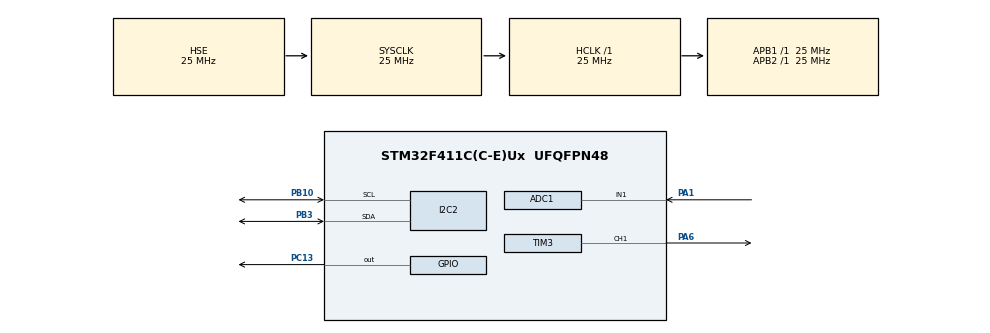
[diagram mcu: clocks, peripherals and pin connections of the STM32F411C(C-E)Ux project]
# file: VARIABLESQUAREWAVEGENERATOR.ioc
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ADC1.Channel-1\#ChannelRegularConversion=ADC_CHANNEL_1
ADC1.NbrOfConversion=1
ADC1.NbrOfConversionFlag=1
ADC1.master=1
Mcu.Family=STM32F4
Mcu.Name=STM32F411C(C-E)Ux
Mcu.Package=UFQFPN48
NVIC.ADC_IRQn=true\:0\:0\:false\:false\:true\:true\:true\:true
NVIC.I2C2_EV_IRQn=true\:0\:0\:false\:false\:true\:true\:true\:true
NVIC.PriorityGroup=NVIC_PRIORITYGROUP_4
PA1.GPIO_PuPd=GPIO_NOPULL
PA1.Signal=ADCx_IN1
PA13.Mode=Serial_Wire
PA13.Signal=SYS_JTMS-SWDIO
PA14.Mode=Serial_Wire
PA14.Signal=SYS_JTCK-SWCLK
PA6.GPIO_PuPd=GPIO_NOPULL
PA6.GPIO_Speed=GPIO_SPEED_FREQ_LOW
PA6.Signal=S_TIM3_CH1
PB10.Mode=I2C
PB10.Signal=I2C2_SCL
PB3.Mode=I2C
PB3.Signal=I2C2_SDA
PC13-ANTI_TAMP.GPIO_PuPd=GPIO_PULLUP
PC13-ANTI_TAMP.Signal=GPIO_Output
PH0\ -\ OSC_IN.Mode=HSE-External-Oscillator
PH0\ -\ OSC_IN.Signal=RCC_OSC_IN
PH1\ -\ OSC_OUT.Mode=HSE-External-Oscillator
PH1\ -\ OSC_OUT.Signal=RCC_OSC_OUT
ProjectManager.HeapSize=0x200
ProjectManager.StackSize=0x400
ProjectManager.TargetToolchain=STM32CubeIDE
RCC.48MHZClocksFreq_Value=40000000
RCC.AHBFreq_Value=25000000
RCC.APB1Freq_Value=25000000
RCC.APB1TimFreq_Value=25000000
RCC.APB2Freq_Value=25000000
RCC.APB2TimFreq_Value=25000000
RCC.CortexFreq_Value=25000000
RCC.HCLKFreq_Value=25000000
RCC.HSE_VALUE=25000000
RCC.HSI_VALUE=16000000
RCC.LSE_VALUE=32768
RCC.PLLM=8
RCC.PLLN=100
RCC.PLLQ=5
RCC.RCC_TIM_PRescaler_Selection=RCC_TIMPRES_DESACTIVATED
RCC.SYSCLKFreq_VALUE=25000000
RCC.SYSCLKSource=RCC_SYSCLKSOURCE_HSE
RCC.VCOOutputFreq_Value=200000000
SH.ADCx_IN1.0=ADC1_IN1,IN1
SH.S_TIM3_CH1.0=TIM3_CH1,Output Compare1 CH1
TIM3.Channel-Output\ Compare1\ CH1=TIM_CHANNEL_1
TIM3.ClockDivision=TIM_CLOCKDIVISION_DIV1
TIM3.OCMode_1=TIM_OCMODE_TOGGLE
TIM3.OCPolarity_1=TIM_OCPOLARITY_LOW
TIM3.Period=1-1
TIM3.Prescaler=1-1
VP_TIM3_VS_ClockSourceINT.Mode=Internal
board=custom

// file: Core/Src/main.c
/* USER CODE BEGIN Header */
/**
 ******************************************************************************
 * @file           : main.c
 * @brief          : Main program body
 ******************************************************************************
 * @attention
 *
 * Copyright (c) 2024 STMicroelectronics.
 * All rights reserved.
 *
 * This software is licensed under terms that can be found in the LICENSE file
 * in the root directory of this software component.
 * If no LICENSE file comes with this software, it is provided AS-IS.
 *
 ******************************************************************************
 */
/* USER CODE END Header */
#include "main.h"

/* USER CODE BEGIN PD */
#define maxFreq 20000
// Define here the maximum frequency
// For values greater than 50000 the sysclock must be 100 MHz
/* USER CODE END PD */

ADC_HandleTypeDef hadc1;

I2C_HandleTypeDef hi2c2;

TIM_HandleTypeDef htim3;

/* USER CODE BEGIN PV */
HAL_StatusTypeDef RetTimer, RetADC;
uint8_t buf[2];
uint32_t adcValue, timerClock, frequency;

/* USER CODE END PV */

void SystemClock_Config(void);
static void MX_GPIO_Init(void);
static void MX_TIM3_Init(void);
static void MX_ADC1_Init(void);
static void MX_I2C2_Init(void);
/* USER CODE BEGIN PFP */
void sendToI2C(uint32_t counts);
void genFreq(uint32_t counts);
/* USER CODE END PFP */

int main(void)
{

  /* MCU Configuration--------------------------------------------------------*/

  /* Reset of all peripherals, Initializes the Flash interface and the Systick. */
  HAL_Init();

  /* Configure the system clock */
  SystemClock_Config();

  /* Initialize all configured peripherals */
  MX_GPIO_Init();
  MX_TIM3_Init();
  MX_ADC1_Init();
  MX_I2C2_Init();
  /* USER CODE BEGIN 2 */
	for (uint8_t i = 0; i < 6; i++) {
		HAL_GPIO_TogglePin(GPIOC, GPIO_PIN_13);
		HAL_Delay(200);
	}

	timerClock = HAL_RCC_GetPCLK2Freq();

	//sendToI2C(4095);
	//genFreq(1100);
  /* USER CODE END 2 */

  /* Infinite loop */
  /* USER CODE BEGIN WHILE */
	while (1) {

		sendToI2C(4095);

		HAL_Delay(1000);

    /* USER CODE END WHILE */

	}
}

void SystemClock_Config(void)
{
  RCC_OscInitTypeDef RCC_OscInitStruct = {0};
  RCC_ClkInitTypeDef RCC_ClkInitStruct = {0};

  /** Configure the main internal regulator output voltage
  */
  __HAL_RCC_PWR_CLK_ENABLE();
  __HAL_PWR_VOLTAGESCALING_CONFIG(PWR_REGULATOR_VOLTAGE_SCALE1);

  /** Initializes the RCC Oscillators according to the specified parameters
  * in the RCC_OscInitTypeDef structure.
  */
  RCC_OscInitStruct.OscillatorType = RCC_OSCILLATORTYPE_HSE;
  RCC_OscInitStruct.HSEState = RCC_HSE_ON;
  RCC_OscInitStruct.PLL.PLLState = RCC_PLL_NONE;
  if (HAL_RCC_OscConfig(&RCC_OscInitStruct) != HAL_OK)
  {
    Error_Handler();
  }

  /** Initializes the CPU, AHB and APB buses clocks
  */
  RCC_ClkInitStruct.ClockType = RCC_CLOCKTYPE_HCLK|RCC_CLOCKTYPE_SYSCLK
                              |RCC_CLOCKTYPE_PCLK1|RCC_CLOCKTYPE_PCLK2;
  RCC_ClkInitStruct.SYSCLKSource = RCC_SYSCLKSOURCE_HSE;
  RCC_ClkInitStruct.AHBCLKDivider = RCC_SYSCLK_DIV1;
  RCC_ClkInitStruct.APB1CLKDivider = RCC_HCLK_DIV1;
  RCC_ClkInitStruct.APB2CLKDivider = RCC_HCLK_DIV1;

  if (HAL_RCC_ClockConfig(&RCC_ClkInitStruct, FLASH_LATENCY_0) != HAL_OK)
  {
    Error_Handler();
  }
}

static void MX_ADC1_Init(void)
{

  ADC_ChannelConfTypeDef sConfig = {0};

  /** Configure the global features of the ADC (Clock, Resolution, Data Alignment and number of conversion)
  */
  hadc1.Instance = ADC1;
  hadc1.Init.ClockPrescaler = ADC_CLOCK_SYNC_PCLK_DIV2;
  hadc1.Init.Resolution = ADC_RESOLUTION_12B;
  hadc1.Init.ScanConvMode = DISABLE;
  hadc1.Init.ContinuousConvMode = DISABLE;
  hadc1.Init.DiscontinuousConvMode = DISABLE;
  hadc1.Init.ExternalTrigConvEdge = ADC_EXTERNALTRIGCONVEDGE_NONE;
  hadc1.Init.ExternalTrigConv = ADC_SOFTWARE_START;
  hadc1.Init.DataAlign = ADC_DATAALIGN_RIGHT;
  hadc1.Init.NbrOfConversion = 1;
  hadc1.Init.DMAContinuousRequests = DISABLE;
  hadc1.Init.EOCSelection = ADC_EOC_SINGLE_CONV;
  if (HAL_ADC_Init(&hadc1) != HAL_OK)
  {
    Error_Handler();
  }

  /** Configure for the selected ADC regular channel its corresponding rank in the sequencer and its sample time.
  */
  sConfig.Channel = ADC_CHANNEL_1;
  sConfig.Rank = 1;
  sConfig.SamplingTime = ADC_SAMPLETIME_3CYCLES;
  if (HAL_ADC_ConfigChannel(&hadc1, &sConfig) != HAL_OK)
  {
    Error_Handler();
  }

}

static void MX_I2C2_Init(void)
{

  hi2c2.Instance = I2C2;
  hi2c2.Init.ClockSpeed = 100000;
  hi2c2.Init.DutyCycle = I2C_DUTYCYCLE_2;
  hi2c2.Init.OwnAddress1 = 0;
  hi2c2.Init.AddressingMode = I2C_ADDRESSINGMODE_7BIT;
  hi2c2.Init.DualAddressMode = I2C_DUALADDRESS_DISABLE;
  hi2c2.Init.OwnAddress2 = 0;
  hi2c2.Init.GeneralCallMode = I2C_GENERALCALL_DISABLE;
  hi2c2.Init.NoStretchMode = I2C_NOSTRETCH_DISABLE;
  if (HAL_I2C_Init(&hi2c2) != HAL_OK)
  {
    Error_Handler();
  }

}

static void MX_TIM3_Init(void)
{

  TIM_ClockConfigTypeDef sClockSourceConfig = {0};
  TIM_MasterConfigTypeDef sMasterConfig = {0};
  TIM_OC_InitTypeDef sConfigOC = {0};

  htim3.Instance = TIM3;
  htim3.Init.Prescaler = 1-1;
  htim3.Init.CounterMode = TIM_COUNTERMODE_UP;
  htim3.Init.Period = 1-1;
  htim3.Init.ClockDivision = TIM_CLOCKDIVISION_DIV1;
  htim3.Init.AutoReloadPreload = TIM_AUTORELOAD_PRELOAD_DISABLE;
  if (HAL_TIM_Base_Init(&htim3) != HAL_OK)
  {
    Error_Handler();
  }
  sClockSourceConfig.ClockSource = TIM_CLOCKSOURCE_INTERNAL;
  if (HAL_TIM_ConfigClockSource(&htim3, &sClockSourceConfig) != HAL_OK)
  {
    Error_Handler();
  }
  if (HAL_TIM_OC_Init(&htim3) != HAL_OK)
  {
    Error_Handler();
  }
  sMasterConfig.MasterOutputTrigger = TIM_TRGO_RESET;
  sMasterConfig.MasterSlaveMode = TIM_MASTERSLAVEMODE_DISABLE;
  if (HAL_TIMEx_MasterConfigSynchronization(&htim3, &sMasterConfig) != HAL_OK)
  {
    Error_Handler();
  }
  sConfigOC.OCMode = TIM_OCMODE_TOGGLE;
  sConfigOC.Pulse = 0;
  sConfigOC.OCPolarity = TIM_OCPOLARITY_LOW;
  sConfigOC.OCFastMode = TIM_OCFAST_DISABLE;
  if (HAL_TIM_OC_ConfigChannel(&htim3, &sConfigOC, TIM_CHANNEL_1) != HAL_OK)
  {
    Error_Handler();
  }
  HAL_TIM_MspPostInit(&htim3);

}

static void MX_GPIO_Init(void)
{
  GPIO_InitTypeDef GPIO_InitStruct = {0};

  /* GPIO Ports Clock Enable */
  __HAL_RCC_GPIOC_CLK_ENABLE();
  __HAL_RCC_GPIOH_CLK_ENABLE();
  __HAL_RCC_GPIOA_CLK_ENABLE();
  __HAL_RCC_GPIOB_CLK_ENABLE();

  /*Configure GPIO pin Output Level */
  HAL_GPIO_WritePin(GPIOC, GPIO_PIN_13, GPIO_PIN_RESET);

  /*Configure GPIO pin : PC13 */
  GPIO_InitStruct.Pin = GPIO_PIN_13;
  GPIO_InitStruct.Mode = GPIO_MODE_OUTPUT_PP;
  GPIO_InitStruct.Pull = GPIO_PULLUP;
  GPIO_InitStruct.Speed = GPIO_SPEED_FREQ_LOW;
  HAL_GPIO_Init(GPIOC, &GPIO_InitStruct);

}

/* USER CODE BEGIN 4 */

void sendToI2C(uint32_t counts) {
	buf[0] = counts >> 8;
	buf[1] = counts;
	HAL_I2C_Master_Transmit_IT(&hi2c2, (0x60 << 1), buf, sizeof(buf));
}

void HAL_I2C_MasterTxCpltCallback(I2C_HandleTypeDef *hi2c2) {
	if (hi2c2->Instance == I2C2) {
		HAL_ADC_Start_IT(&hadc1);
	}
}

void HAL_ADC_ConvCpltCallback(ADC_HandleTypeDef *hadc) {
	if (hadc->Instance == ADC1) {
		adcValue = HAL_ADC_GetValue(hadc);
		HAL_ADC_Stop_IT(hadc);
		frequency = 60 + (adcValue * maxFreq / 4095);
		// 60 -> empírico
		genFreq(frequency);

	}
}

void genFreq(uint32_t counts) {
	uint32_t psc = 1, arr; //, ccr; // For PWM mode only
	uint32_t freq = 2 * counts;
	while (1) {
		if (timerClock % psc == 0) {
			arr = (timerClock / (freq * psc));
			if (arr <= 0xFFFF) { // 65535
				psc -= 1;
				arr -= 1;
				break;
			}
			psc++;
		}
	}

	//ccr = arr / 2; // For PWM mode only

	htim3.Instance->PSC = psc;
	htim3.Instance->ARR = arr;
	//htim3.Instance->CCR1 = ccr; // No need here, only
								  // for PWM mode

	HAL_TIM_OC_Start(&htim3, TIM_CHANNEL_1);
}

/* USER CODE END 4 */

void Error_Handler(void)
{
	__disable_irq();
	while (1) {
	}
}
